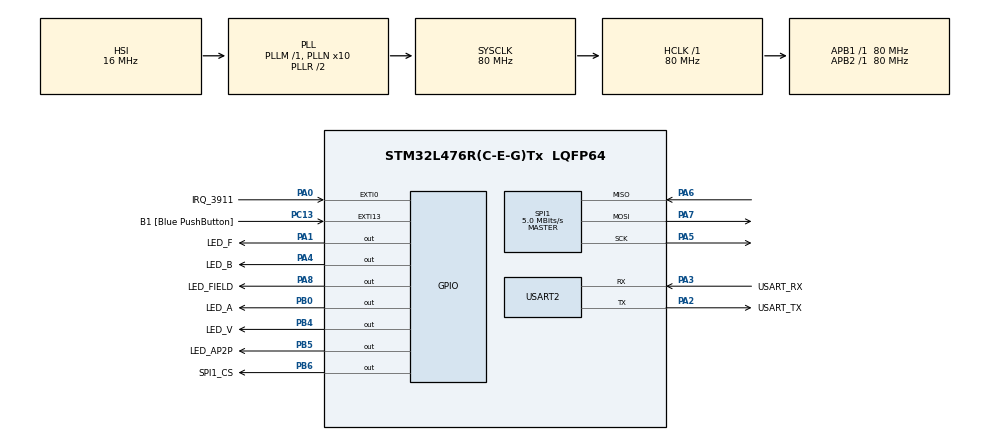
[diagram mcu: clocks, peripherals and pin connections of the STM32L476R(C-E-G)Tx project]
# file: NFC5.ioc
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Mcu.Family=STM32L4
Mcu.Name=STM32L476R(C-E-G)Tx
Mcu.Package=LQFP64
NVIC.EXTI0_IRQn=true\:0\:0\:false\:false\:true\:true
NVIC.PriorityGroup=NVIC_PRIORITYGROUP_4
PA0.GPIO_Label=IRQ_3911
PA0.GPIO_ModeDefaultEXTI=GPIO_MODE_IT_RISING
PA0.Signal=GPXTI0
PA1.GPIO_Label=LED_F
PA1.Signal=GPIO_Output
PA13\ (JTMS-SWDIO).GPIO_Label=TMS
PA13\ (JTMS-SWDIO).Mode=Serial_Wire
PA13\ (JTMS-SWDIO).Signal=SYS_JTMS-SWDIO
PA14\ (JTCK-SWCLK).GPIO_Label=TCK
PA14\ (JTCK-SWCLK).Mode=Serial_Wire
PA14\ (JTCK-SWCLK).Signal=SYS_JTCK-SWCLK
PA2.GPIO_Label=USART_TX
PA2.GPIO_Mode=GPIO_MODE_AF_PP
PA2.GPIO_PuPd=GPIO_NOPULL
PA2.GPIO_Speed=GPIO_SPEED_FREQ_VERY_HIGH
PA2.Mode=Asynchronous
PA2.Signal=USART2_TX
PA3.GPIO_Label=USART_RX
PA3.GPIO_Mode=GPIO_MODE_AF_PP
PA3.GPIO_PuPd=GPIO_NOPULL
PA3.GPIO_Speed=GPIO_SPEED_FREQ_VERY_HIGH
PA3.Mode=Asynchronous
PA3.Signal=USART2_RX
PA4.GPIO_Label=LED_B
PA4.Signal=GPIO_Output
PA5.Mode=Full_Duplex_Master
PA5.Signal=SPI1_SCK
PA6.Mode=Full_Duplex_Master
PA6.Signal=SPI1_MISO
PA7.Mode=Full_Duplex_Master
PA7.Signal=SPI1_MOSI
PA8.GPIO_Label=LED_FIELD
PA8.Signal=GPIO_Output
PB0.GPIO_Label=LED_A
PB0.Signal=GPIO_Output
PB3\ (JTDO-TRACESWO).GPIO_Label=SWO
PB3\ (JTDO-TRACESWO).Signal=SYS_JTDO-SWO
PB4\ (NJTRST).GPIO_Label=LED_V
PB4\ (NJTRST).Signal=GPIO_Output
PB5.GPIO_Label=LED_AP2P
PB5.Signal=GPIO_Output
PB6.GPIO_Label=SPI1_CS
PB6.PinState=GPIO_PIN_SET
PB6.Signal=GPIO_Output
PC13.GPIO_Label=B1 [Blue PushButton]
PC13.GPIO_ModeDefaultEXTI=GPIO_MODE_IT_FALLING
PC13.GPIO_PuPd=GPIO_NOPULL
PC13.Signal=GPXTI13
PC14-OSC32_IN\ (PC14).Mode=LSE-External-Oscillator
PC14-OSC32_IN\ (PC14).Signal=RCC_OSC32_IN
PC15-OSC32_OUT\ (PC15).Mode=LSE-External-Oscillator
PC15-OSC32_OUT\ (PC15).Signal=RCC_OSC32_OUT
PH0-OSC_IN\ (PH0).Signal=RCC_OSC_IN
PH1-OSC_OUT\ (PH1).Signal=RCC_OSC_OUT
ProjectManager.HeapSize=0x200
ProjectManager.StackSize=0x400
ProjectManager.TargetToolchain=TrueSTUDIO
RCC.ADCFreq_Value=64000000
RCC.AHBFreq_Value=80000000
RCC.APB1Freq_Value=80000000
RCC.APB1TimFreq_Value=80000000
RCC.APB2Freq_Value=80000000
RCC.APB2TimFreq_Value=80000000
RCC.CortexFreq_Value=80000000
RCC.HCLKFreq_Value=80000000
RCC.HSE_VALUE=8000000
RCC.HSI_VALUE=16000000
RCC.MSI_VALUE=4000000
RCC.PLLN=10
RCC.PLLSourceVirtual=RCC_PLLSOURCE_HSI
RCC.PREFETCH_ENABLE=1
RCC.SYSCLKFreq_VALUE=80000000
RCC.SYSCLKSource=RCC_SYSCLKSOURCE_PLLCLK
RCC.USBFreq_Value=64000000
RCC.VCOOutputFreq_Value=160000000
SPI1.BaudRatePrescaler=SPI_BAUDRATEPRESCALER_16
SPI1.CLKPhase=SPI_PHASE_2EDGE
SPI1.CalculateBaudRate=5.0 MBits/s
SPI1.DataSize=SPI_DATASIZE_8BIT
SPI1.Direction=SPI_DIRECTION_2LINES
SPI1.Mode=SPI_MODE_MASTER
SPI1.VirtualType=VM_MASTER
USART2.VirtualMode-Asynchronous=VM_ASYNC
board=NUCLEO-L476RG

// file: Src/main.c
/**
  ******************************************************************************
  * @file           : main.c
  * @brief          : Main program body
  ******************************************************************************
  ** This notice applies to any and all portions of this file
  * that are not between comment pairs USER CODE BEGIN and
  * USER CODE END. Other portions of this file, whether
  * inserted by the user or by software development tools
  * are owned by their respective copyright owners.
  *
  * COPYRIGHT(c) 2018 STMicroelectronics
  *
  * Redistribution and use in source and binary forms, with or without modification,
  * are permitted provided that the following conditions are met:
  *   1. Redistributions of source code must retain the above copyright notice,
  *      this list of conditions and the following disclaimer.
  *   2. Redistributions in binary form must reproduce the above copyright notice,
  *      this list of conditions and the following disclaimer in the documentation
  *      and/or other materials provided with the distribution.
  *   3. Neither the name of STMicroelectronics nor the names of its contributors
  *      may be used to endorse or promote products derived from this software
  *      without specific prior written permission.
  *
  * THIS SOFTWARE IS PROVIDED BY THE COPYRIGHT HOLDERS AND CONTRIBUTORS "AS IS"
  * AND ANY EXPRESS OR IMPLIED WARRANTIES, INCLUDING, BUT NOT LIMITED TO, THE
  * IMPLIED WARRANTIES OF MERCHANTABILITY AND FITNESS FOR A PARTICULAR PURPOSE ARE
  * DISCLAIMED. IN NO EVENT SHALL THE COPYRIGHT HOLDER OR CONTRIBUTORS BE LIABLE
  * FOR ANY DIRECT, INDIRECT, INCIDENTAL, SPECIAL, EXEMPLARY, OR CONSEQUENTIAL
  * DAMAGES (INCLUDING, BUT NOT LIMITED TO, PROCUREMENT OF SUBSTITUTE GOODS OR
  * SERVICES; LOSS OF USE, DATA, OR PROFITS; OR BUSINESS INTERRUPTION) HOWEVER
  * CAUSED AND ON ANY THEORY OF LIABILITY, WHETHER IN CONTRACT, STRICT LIABILITY,
  * OR TORT (INCLUDING NEGLIGENCE OR OTHERWISE) ARISING IN ANY WAY OUT OF THE USE
  * OF THIS SOFTWARE, EVEN IF ADVISED OF THE POSSIBILITY OF SUCH DAMAGE.
  *
  ******************************************************************************
  */
#include "main.h"
#include "stm32l4xx_hal.h"
#include "spi.h"
#include "usart.h"
#include "gpio.h"

/* USER CODE BEGIN Includes */

#include "demo.h"
#include "platform.h"
#include "spi1.h"
#include "usart1.h"
#include "logger.h"
#include "st_errno.h"
#include "rfal_rf.h"
#include "rfal_analogConfig.h"

/* USER CODE END Includes */

/* USER CODE BEGIN PV */
/* Private variables ---------------------------------------------------------*/

/* USER CODE END PV */

void SystemClock_Config(void);

/* USER CODE BEGIN PFP */
/* Private function prototypes -----------------------------------------------*/

/* USER CODE END PFP */

int main(void)
{

  /* MCU Configuration----------------------------------------------------------*/

  /* Reset of all peripherals, Initializes the Flash interface and the Systick. */
  HAL_Init();

  /* Configure the system clock */
  SystemClock_Config();

  /* Initialize all configured peripherals */
  MX_GPIO_Init();
  MX_USART2_UART_Init();
  MX_SPI1_Init();
  /* USER CODE BEGIN 2 */

  /* Initialize driver*/
    SpiInit(&hspi1);
    logUsartInit(&huart2);

    /* Initialize log module */
    logUsartInit(&huart2);

    platformLog("Welcome to X-NUCLEO-NFC05A1\r\n");

    /* Initalize RFAL */
    rfalAnalogConfigInitialize();
    if( rfalInitialize() != ERR_NONE )
    {
      /*
      * in case the rfal initalization failed signal it by flashing all LED
      * and stoping all operations
      */
      platformLog("RFAL initialization failed..\r\n");
      while(1)
      {
        platformLedToogle(PLATFORM_LED_FIELD_PORT, PLATFORM_LED_FIELD_PIN);
        platformLedToogle(PLATFORM_LED_A_PORT, PLATFORM_LED_A_PIN);
        platformLedToogle(PLATFORM_LED_B_PORT, PLATFORM_LED_B_PIN);
        platformLedToogle(PLATFORM_LED_F_PORT, PLATFORM_LED_F_PIN);
        platformLedToogle(PLATFORM_LED_V_PORT, PLATFORM_LED_V_PIN);
        platformLedToogle(PLATFORM_LED_AP2P_PORT, PLATFORM_LED_AP2P_PIN);
        platformDelay(100);
      }
    }
    else
    {
      platformLog("RFAL initialization succeeded..\r\n");
      for (int i = 0; i < 6; i++)
      {
        platformLedToogle(PLATFORM_LED_FIELD_PORT, PLATFORM_LED_FIELD_PIN);
        platformLedToogle(PLATFORM_LED_A_PORT, PLATFORM_LED_A_PIN);
        platformLedToogle(PLATFORM_LED_B_PORT, PLATFORM_LED_B_PIN);
        platformLedToogle(PLATFORM_LED_F_PORT, PLATFORM_LED_F_PIN);
        platformLedToogle(PLATFORM_LED_V_PORT, PLATFORM_LED_V_PIN);
        platformLedToogle(PLATFORM_LED_AP2P_PORT, PLATFORM_LED_AP2P_PIN);
        platformDelay(200);
      }

      platformLedOff(PLATFORM_LED_A_PORT, PLATFORM_LED_A_PIN);
      platformLedOff(PLATFORM_LED_B_PORT, PLATFORM_LED_B_PIN);
      platformLedOff(PLATFORM_LED_F_PORT, PLATFORM_LED_F_PIN);
      platformLedOff(PLATFORM_LED_V_PORT, PLATFORM_LED_V_PIN);
      platformLedOff(PLATFORM_LED_AP2P_PORT, PLATFORM_LED_AP2P_PIN);
      platformLedOff(PLATFORM_LED_FIELD_PORT, PLATFORM_LED_FIELD_PIN);
    }

  /* USER CODE END 2 */

  /* Infinite loop */
  /* USER CODE BEGIN WHILE */
  while (1)
  {

	    /* Run RFAL Worker */
	    rfalWorker();

	    /* Run Demo Application */
	    demoCycle();

  /* USER CODE END WHILE */

  }

}

void SystemClock_Config(void)
{

  RCC_OscInitTypeDef RCC_OscInitStruct;
  RCC_ClkInitTypeDef RCC_ClkInitStruct;
  RCC_PeriphCLKInitTypeDef PeriphClkInit;

    /**Initializes the CPU, AHB and APB busses clocks
    */
  RCC_OscInitStruct.OscillatorType = RCC_OSCILLATORTYPE_HSI;
  RCC_OscInitStruct.HSIState = RCC_HSI_ON;
  RCC_OscInitStruct.HSICalibrationValue = 16;
  RCC_OscInitStruct.PLL.PLLState = RCC_PLL_ON;
  RCC_OscInitStruct.PLL.PLLSource = RCC_PLLSOURCE_HSI;
  RCC_OscInitStruct.PLL.PLLM = 1;
  RCC_OscInitStruct.PLL.PLLN = 10;
  RCC_OscInitStruct.PLL.PLLP = RCC_PLLP_DIV7;
  RCC_OscInitStruct.PLL.PLLQ = RCC_PLLQ_DIV2;
  RCC_OscInitStruct.PLL.PLLR = RCC_PLLR_DIV2;
  if (HAL_RCC_OscConfig(&RCC_OscInitStruct) != HAL_OK)
  {
    _Error_Handler(__FILE__, __LINE__);
  }

    /**Initializes the CPU, AHB and APB busses clocks
    */
  RCC_ClkInitStruct.ClockType = RCC_CLOCKTYPE_HCLK|RCC_CLOCKTYPE_SYSCLK
                              |RCC_CLOCKTYPE_PCLK1|RCC_CLOCKTYPE_PCLK2;
  RCC_ClkInitStruct.SYSCLKSource = RCC_SYSCLKSOURCE_PLLCLK;
  RCC_ClkInitStruct.AHBCLKDivider = RCC_SYSCLK_DIV1;
  RCC_ClkInitStruct.APB1CLKDivider = RCC_HCLK_DIV1;
  RCC_ClkInitStruct.APB2CLKDivider = RCC_HCLK_DIV1;

  if (HAL_RCC_ClockConfig(&RCC_ClkInitStruct, FLASH_LATENCY_4) != HAL_OK)
  {
    _Error_Handler(__FILE__, __LINE__);
  }

  PeriphClkInit.PeriphClockSelection = RCC_PERIPHCLK_USART2;
  PeriphClkInit.Usart2ClockSelection = RCC_USART2CLKSOURCE_PCLK1;
  if (HAL_RCCEx_PeriphCLKConfig(&PeriphClkInit) != HAL_OK)
  {
    _Error_Handler(__FILE__, __LINE__);
  }

    /**Configure the main internal regulator output voltage
    */
  if (HAL_PWREx_ControlVoltageScaling(PWR_REGULATOR_VOLTAGE_SCALE1) != HAL_OK)
  {
    _Error_Handler(__FILE__, __LINE__);
  }

    /**Configure the Systick interrupt time
    */
  HAL_SYSTICK_Config(HAL_RCC_GetHCLKFreq()/1000);

    /**Configure the Systick
    */
  HAL_SYSTICK_CLKSourceConfig(SYSTICK_CLKSOURCE_HCLK);

  /* SysTick_IRQn interrupt configuration */
  HAL_NVIC_SetPriority(SysTick_IRQn, 0, 0);
}

void _Error_Handler(char *file, int line)
{
  while(1)
  {
  }
}

/************************ (C) COPYRIGHT STMicroelectronics *****END OF FILE****/
